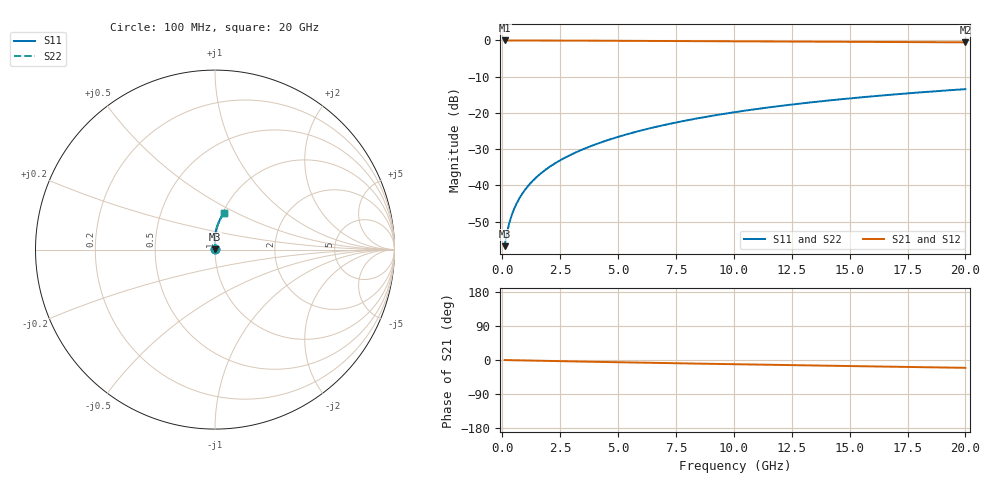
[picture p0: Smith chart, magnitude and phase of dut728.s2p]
! Touchstone file exported from HFSS 2024.1.0
!  File:  C:/UserFiles/LocalFiles/RDL_TSV_Batchsim/temp_RDL_bottom_728_1779858786.aedt
!  Generated:  01:15:45 PM May 27, 2026
!  Design:  RDL_bottom
!  Project:  temp_RDL_bottom_728_1779858786
!  Setup:  Setup1
!  Solution:  Sweep
! Variables:
!  dtsv = 10.80580581um
!  hbump = 3um
!  htsv = 59.29um
!  ldown = 268.37um
!  lrdl = 100um
!  p = 40
!  p1 = 54.47um
!  rhole = 1um
!  t = 450um
!  tdown = 4.2um
!  trdl = 3.915915916um
!  wdown = 25.62um
!  wrdl = 20um
# GHz S MA R 50.000000
! Terminal data exported
! Port[1] = RDL1_T1
! Port[2] = RDL1_T2
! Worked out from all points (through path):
!   200 points, 100 MHz to 20 GHz, reference 50 ohm
!   highest |S21| = -0.01 dB at 100 MHz (marker M1); lowest = -0.5 dB at 20 GHz (marker M2)
!   group delay of S21, straight-line fit = 2.83 ps
!   lowest |S11| = -56.8 dB at 100 MHz (marker M3), VSWR 1.00, Z = 50.1 + j0.0963 ohm
!   |S11| at or under -10 dB: start of sweep to end of sweep
!   |S22| runs from -56.8 to -13.4 dB; largest |S21 - S12| = 2.4e-15
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0.1  0.001447 41.6  0.9989 -0.1  0.9989 -0.1  0.001447 41.6
! Gamma 0 0 0 0
! Port Impedance 50 0 50 0
0.2  0.002198 58.6  0.9988 -0.3  0.9988 -0.3  0.002198 58.6
0.3  0.003003 66.5  0.9987 -0.4  0.9987 -0.4  0.003003 66.5
0.4  0.003817 71.2  0.9987 -0.5  0.9987 -0.5  0.003817 71.2
0.5  0.004637 74.4  0.9986 -0.6  0.9986 -0.6  0.004637 74.4
0.6  0.005465 76.7  0.9985 -0.8  0.9985 -0.8  0.005465 76.7
0.8  0.007142 80.1  0.9983 -1.0  0.9983 -1.0  0.007142 80.1
1.1  0.009701 83.1  0.998 -1.4  0.998 -1.4  0.009701 83.1
1.5  0.01318 85.6  0.9975 -1.9  0.9975 -1.9  0.01318 85.6
1.8  0.01583 86.8  0.997 -2.2  0.997 -2.2  0.01583 86.8
2.1  0.01852 87.7  0.9965 -2.6  0.9965 -2.6  0.01852 87.7
2.7  0.02402 89.0  0.9952 -3.3  0.9952 -3.3  0.02402 89.0
3.5  0.03161 90.1  0.9931 -4.2  0.9931 -4.2  0.03161 90.1
4.2  0.03851 90.6  0.991 -5.0  0.991 -5.0  0.03851 90.6
5  0.04667 90.8  0.9885 -5.9  0.9885 -5.9  0.04667 90.8
5.9  0.05615 90.6  0.9855 -6.9  0.9855 -6.9  0.05615 90.6
6.8  0.0659 90.2  0.9825 -7.9  0.9825 -7.9  0.06591 90.2
8.4  0.08371 89.0  0.9772 -9.5  0.9772 -9.5  0.08371 89.0
10.1  0.103 87.3  0.9717 -11.2  0.9717 -11.2  0.103 87.3
13.4  0.1405 83.6  0.9614 -14.4  0.9614 -14.4  0.1405 83.6
16.7  0.1772 79.7  0.9514 -17.6  0.9514 -17.6  0.1772 79.7
20  0.2126 76.0  0.9411 -20.7  0.9411 -20.7  0.2126 76.0
